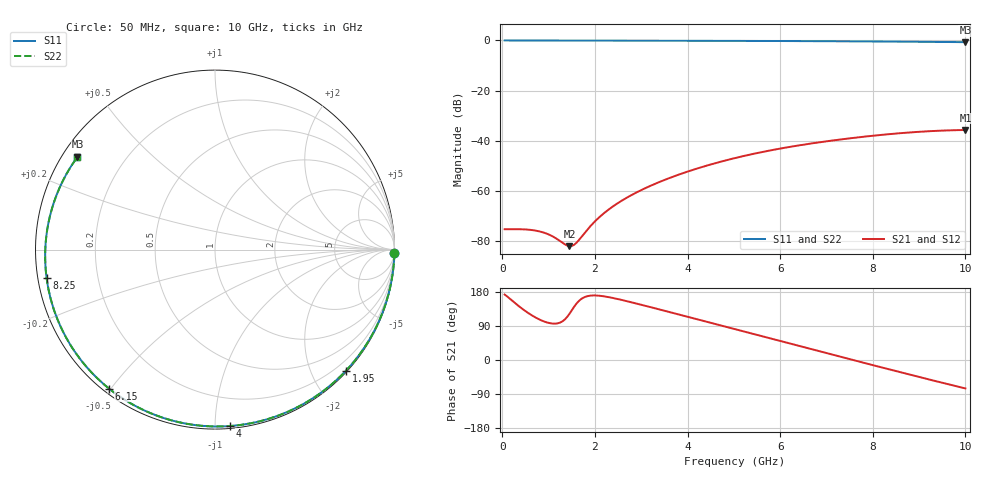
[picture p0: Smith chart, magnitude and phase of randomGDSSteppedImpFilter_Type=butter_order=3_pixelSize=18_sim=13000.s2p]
! freq	dB(S11)	phase(S11)	dB(S12)	phase(S12)
!  dB(S21)	phase(S21)	dB(S22)	phase(S22)
!S-par simulation data
#  GHz  S  DB  R 50
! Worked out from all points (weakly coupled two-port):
!   200 points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, 50 MHz to 10 GHz, reference 50 ohm
!   highest |S21| = -35.78 dB at 10 GHz (marker M1); lowest = -82.2 dB at 1.45 GHz (marker M2)
!   lowest |S11| = -0.7 dB at 10 GHz (marker M3), VSWR 25.40, Z = 2.15 + j15.3 ohm
!   |S11| at or under -10 dB: nowhere
!   |S22| runs from -0.7 to 0.0 dB; largest |S21 - S12| = 0
!   S11 on the Smith chart (normalised r, x): 50 MHz: open; 1.95 GHz: 0.02, -2.55; 4 GHz: 0.01, -1.09; 6.15 GHz: 0.02, -0.50; 8.25 GHz: 0.03, -0.08; 10 GHz: 0.04, +0.31
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0.05  -0.00 -1.1  -75.42 172.8  -75.42 172.8  -0.00 -1.1
0.7  -0.02 -15.6  -75.92 113.4  -75.92 113.4  -0.02 -15.6
0.95  -0.03 -21.1  -77.14 99.6  -77.14 99.6  -0.03 -21.1
1.25  -0.03 -27.6  -80.18 98.8  -80.18 98.8  -0.03 -27.6
1.45  -0.04 -32.0  -82.20 121.8  -82.20 121.8  -0.04 -32.0
1.65  -0.05 -36.3  -79.85 155.4  -79.85 155.4  -0.05 -36.3
1.75  -0.05 -38.5  -77.57 164.4  -77.57 164.4  -0.05 -38.5
1.95  -0.05 -42.8  -73.26 170.3  -73.26 170.3  -0.05 -42.7
2.2  -0.06 -48.1  -68.96 168.0  -68.96 168.0  -0.06 -48.1
2.55  -0.07 -55.4  -64.36 159.3  -64.36 159.3  -0.07 -55.4
2.95  -0.08 -63.8  -60.25 147.3  -60.25 147.3  -0.08 -63.8
3.4  -0.10 -73.0  -56.50 133.2  -56.50 133.2  -0.10 -73.0
4  -0.12 -85.1  -52.41 114.2  -52.41 114.2  -0.12 -85.1
5.05  -0.16 -105.8  -46.88 80.5  -46.88 80.5  -0.16 -105.8
6.15  -0.23 -127.3  -42.72 45.1  -42.72 45.1  -0.23 -127.3
6.7  -0.27 -138.2  -41.09 27.5  -41.09 27.5  -0.27 -138.1
7.5  -0.35 -154.4  -39.12 2.1  -39.12 2.1  -0.35 -154.4
8.25  -0.43 -170.5  -37.62 -21.4  -37.62 -21.4  -0.43 -170.4
8.35  -0.44 -172.8  -37.45 -24.5  -37.45 -24.5  -0.44 -172.7
9.2  -0.56 167.2  -36.28 -50.9  -36.28 -50.9  -0.56 167.3
9.6  -0.62 156.9  -35.95 -63.1  -35.95 -63.1  -0.62 157.1
10  -0.68 146.0  -35.78 -75.0  -35.78 -75.0  -0.68 146.2
